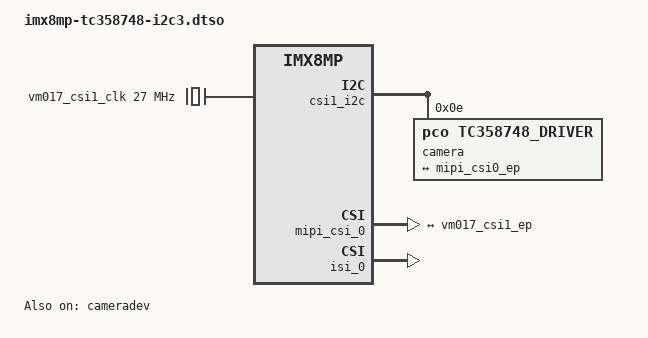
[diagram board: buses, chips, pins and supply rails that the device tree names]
// SPDX-License-Identifier: (GPL-2.0+ OR MIT)

/dts-v1/;
/plugin/;

#include <dt-bindings/clock/imx8mp-clock.h>
#include <dt-bindings/gpio/gpio.h>
#include "../imx8mp-pinfunc.h"

/ {
	compatible = "phytec,imx8mp-phyboard-pollux";
};

/* TC358748 Toshiba parallel to CSI-2 */
&{/} {
	vm017_csi1_clk: vm017-csi1-ext-clk {
		#clock-cells = <0>;
		compatible = "fixed-clock";
		clock-frequency = <27000000>;  // 27 MHz
	};
};

&csi1_i2c {
	#address-cells = <1>;
	#size-cells = <0>;
	status = "okay";

	camera@0e {
		#address-cells = <0x1>;
		#size-cells = <0x0>;

		compatible = "pco,tc358748_driver";
		reg = <0x0e>;
		clocks = <&vm017_csi1_clk>;
		clock-names = "ext";
		isp-bus-info = "csi0";

		port@0 {
			reg = <0>;

			vm017_csi1_ep: endpoint {
				remote-endpoint = <&mipi_csi0_ep>;
				bus-type = <4>;                               // MIPI CSI-2 D-PHY

				clock-lanes = <0>;
				clock-noncontinuous = <1>;

				// data-lanes = <1 2 3 4>;  // 4 lanes
 				data-lanes = <1 2>;      // 2 lanes
 				// data-lanes = <1>;        // 1 lane
			};
		};
	};
};

&mipi_csi_0 {
	#address-cells = <1>;
	#size-cells = <0>;
	status = "okay";

	port@0 {
		reg = <0>;
		mipi_csi0_ep: endpoint {
			remote-endpoint = <&vm017_csi1_ep>;

			// data-lanes = <4>;       // 4 lanes
			// csis-hs-settle = <1>;   // for 80-90 Mbps - 4 lanes 38 MHz
			// csis-clk-settle = <0>;  // https://community.nxp.com/t5/i-MX-Processors/Explenation-for-HS-SETTLE-parameter-in-MIPI-CSI-D-PHY-registers/m-p/764265

			data-lanes = <2>;       // 2 lanes
			csis-hs-settle = <1>;   // for 80-90 Mbps - 2 lanes 72 MHz
			csis-clk-settle = <0>;  // https://community.nxp.com/t5/i-MX-Processors/Explenation-for-HS-SETTLE-parameter-in-MIPI-CSI-D-PHY-registers/m-p/764265

			// data-lanes = <1>;       // 1 lane
			// csis-hs-settle = <3>;   // for 140-180 Mbps - 1 lane 152 MHz
			// csis-clk-settle = <0>;  // https://community.nxp.com/t5/i-MX-Processors/Explenation-for-HS-SETTLE-parameter-in-MIPI-CSI-D-PHY-registers/m-p/764265

			csis-wclk;               // WRAP_CLK - EXTCLK - external clock
		};
	};
};

&cameradev {
	status = "okay";
};

&isi_0 {
	dma-coherent;
	status = "okay";

	cap_device {
		status = "okay";
	};
};
